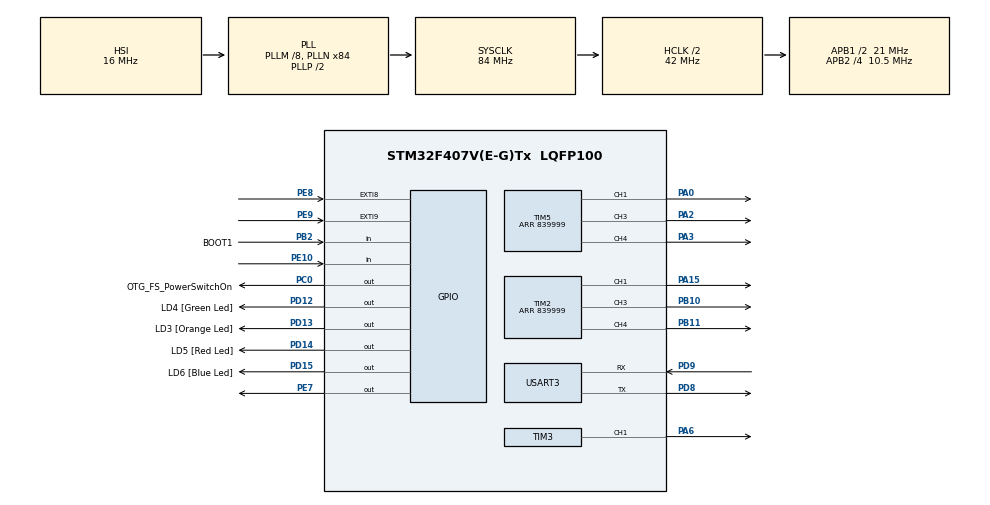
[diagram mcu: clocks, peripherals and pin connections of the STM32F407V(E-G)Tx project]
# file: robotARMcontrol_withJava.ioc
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Mcu.Family=STM32F4
Mcu.Name=STM32F407V(E-G)Tx
Mcu.Package=LQFP100
NVIC.EXTI9_5_IRQn=true\:1\:0\:true\:false\:true
NVIC.PriorityGroup=NVIC_PRIORITYGROUP_1
NVIC.TIM2_IRQn=true\:0\:0\:true\:false\:true
NVIC.TIM3_IRQn=true\:0\:0\:true\:false\:true
NVIC.TIM5_IRQn=true\:0\:0\:true\:false\:true
NVIC.USART3_IRQn=true\:1\:0\:true\:false\:true
PA0-WKUP.Signal=S_TIM5_CH1
PA10.GPIO_Label=OTG_FS_ID
PA10.GPIO_Mode=GPIO_MODE_AF_PP
PA10.GPIO_PuPd=GPIO_NOPULL
PA10.GPIO_Speed=GPIO_SPEED_FREQ_LOW
PA10.Signal=USB_OTG_FS_ID
PA11.GPIO_Label=OTG_FS_DM
PA11.GPIO_Mode=GPIO_MODE_AF_PP
PA11.GPIO_PuPd=GPIO_NOPULL
PA11.GPIO_Speed=GPIO_SPEED_FREQ_LOW
PA11.Signal=USB_OTG_FS_DM
PA12.GPIO_Label=OTG_FS_DP
PA12.GPIO_Mode=GPIO_MODE_AF_PP
PA12.GPIO_PuPd=GPIO_NOPULL
PA12.GPIO_Speed=GPIO_SPEED_FREQ_LOW
PA12.Signal=USB_OTG_FS_DP
PA13.GPIO_Label=SWDIO
PA13.Signal=SYS_JTMS-SWDIO
PA14.GPIO_Label=SWCLK
PA14.Signal=SYS_JTCK-SWCLK
PA15.Signal=S_TIM2_CH1_ETR
PA2.Signal=S_TIM5_CH3
PA3.Signal=S_TIM5_CH4
PA6.Signal=S_TIM3_CH1
PA9.GPIO_Label=VBUS_FS
PA9.GPIO_Mode=GPIO_MODE_INPUT
PA9.GPIO_PuPd=GPIO_NOPULL
PA9.Signal=USB_OTG_FS_VBUS
PB10.Signal=S_TIM2_CH3
PB11.Signal=S_TIM2_CH4
PB2.GPIO_Label=BOOT1
PB2.GPIO_Mode=GPIO_MODE_INPUT
PB2.GPIO_PuPd=GPIO_NOPULL
PB2.Signal=GPIO_Input
PB3.GPIO_Label=SWO
PB3.Signal=SYS_JTDO-SWO
PB6.GPIO_Label=Audio_SCL [CS43L22_SCL]
PB6.GPIO_Mode=GPIO_MODE_AF_OD
PB6.GPIO_PuPd=GPIO_NOPULL
PB6.GPIO_Speed=GPIO_SPEED_FREQ_LOW
PB6.Signal=I2C1_SCL
PB9.GPIO_Label=Audio_SDA [CS43L22_SDA]
PB9.GPIO_Mode=GPIO_MODE_AF_OD
PB9.GPIO_PuPd=GPIO_NOPULL
PB9.GPIO_Speed=GPIO_SPEED_FREQ_LOW
PB9.Signal=I2C1_SDA
PC0.GPIO_Label=OTG_FS_PowerSwitchOn
PC0.GPIO_PuPd=GPIO_NOPULL
PC0.GPIO_Speed=GPIO_SPEED_FREQ_LOW
PC0.PinState=GPIO_PIN_SET
PC0.Signal=GPIO_Output
PC10.GPIO_Label=I2S3_SCK [CS43L22_SCLK]
PC10.GPIO_Mode=GPIO_MODE_AF_PP
PC10.GPIO_PuPd=GPIO_NOPULL
PC10.GPIO_Speed=GPIO_SPEED_FREQ_LOW
PC10.Signal=I2S3_CK
PC12.GPIO_Label=I2S3_SD [CS43L22_SDIN]
PC12.GPIO_Mode=GPIO_MODE_AF_PP
PC12.GPIO_PuPd=GPIO_NOPULL
PC12.GPIO_Speed=GPIO_SPEED_FREQ_LOW
PC12.Signal=I2S3_SD
PC14-OSC32_IN.GPIO_Label=PC14-OSC32_IN
PC14-OSC32_IN.Signal=RCC_OSC32_IN
PC15-OSC32_OUT.GPIO_Label=PC15-OSC32_OUT
PC15-OSC32_OUT.Signal=RCC_OSC32_OUT
PC3.GPIO_Label=PDM_OUT [MP45DT02_DOUT]
PC3.GPIO_Mode=GPIO_MODE_AF_PP
PC3.GPIO_PuPd=GPIO_NOPULL
PC3.GPIO_Speed=GPIO_SPEED_FREQ_LOW
PC3.Signal=I2S2_SD
PC7.GPIO_Label=I2S3_MCK [CS43L22_MCLK]
PC7.GPIO_Mode=GPIO_MODE_AF_PP
PC7.GPIO_PuPd=GPIO_NOPULL
PC7.GPIO_Speed=GPIO_SPEED_FREQ_LOW
PC7.Signal=I2S3_MCK
PD12.GPIO_Label=LD4 [Green Led]
PD12.GPIO_PuPd=GPIO_NOPULL
PD12.GPIO_Speed=GPIO_SPEED_FREQ_LOW
PD12.Signal=GPIO_Output
PD13.GPIO_Label=LD3 [Orange Led]
PD13.GPIO_PuPd=GPIO_NOPULL
PD13.GPIO_Speed=GPIO_SPEED_FREQ_LOW
PD13.Signal=GPIO_Output
PD14.GPIO_Label=LD5 [Red Led]
PD14.GPIO_PuPd=GPIO_NOPULL
PD14.GPIO_Speed=GPIO_SPEED_FREQ_LOW
PD14.Signal=GPIO_Output
PD15.GPIO_Label=LD6 [Blue Led]
PD15.GPIO_PuPd=GPIO_NOPULL
PD15.GPIO_Speed=GPIO_SPEED_FREQ_LOW
PD15.Signal=GPIO_Output
PD8.Mode=Asynchronous
PD8.Signal=USART3_TX
PD9.Mode=Asynchronous
PD9.Signal=USART3_RX
PE10.GPIO_PuPd=GPIO_PULLUP
PE10.Signal=GPIO_Input
PE7.Signal=GPIO_Output
PE8.GPIO_ModeDefaultEXTI=GPIO_MODE_IT_RISING_FALLING
PE8.GPIO_PuPd=GPIO_PULLUP
PE8.Signal=GPXTI8
PE9.GPIO_ModeDefaultEXTI=GPIO_MODE_IT_RISING_FALLING
PE9.GPIO_PuPd=GPIO_PULLUP
PE9.Signal=GPXTI9
PH0-OSC_IN.GPIO_Label=PH0-OSC_IN
PH0-OSC_IN.Signal=RCC_OSC_IN
PH1-OSC_OUT.GPIO_Label=PH1-OSC_OUT
PH1-OSC_OUT.Signal=RCC_OSC_OUT
ProjectManager.HeapSize=0x200
ProjectManager.StackSize=0x400
ProjectManager.TargetToolchain=EWARM
RCC.48MHZClocksFreq_Value=24000000
RCC.AHBCLKDivider=RCC_SYSCLK_DIV2
RCC.AHBFreq_Value=42000000
RCC.APB1CLKDivider=RCC_HCLK_DIV2
RCC.APB1Freq_Value=21000000
RCC.APB1TimFreq_Value=42000000
RCC.APB2CLKDivider=RCC_HCLK_DIV4
RCC.APB2Freq_Value=10500000
RCC.APB2TimFreq_Value=21000000
RCC.CortexFreq_Value=42000000
RCC.HCLKFreq_Value=42000000
RCC.HSE_VALUE=8000000
RCC.HSI_VALUE=16000000
RCC.LSE_VALUE=32768
RCC.PLLM=8
RCC.PLLN=84
RCC.PLLQ=7
RCC.SYSCLKFreq_VALUE=84000000
RCC.SYSCLKSource=RCC_SYSCLKSOURCE_PLLCLK
RCC.VCOOutputFreq_Value=168000000
SH.S_TIM2_CH1_ETR.0=TIM2_CH1,PWM Generation1 CH1
SH.S_TIM2_CH3.0=TIM2_CH3,PWM Generation3 CH3
SH.S_TIM2_CH4.0=TIM2_CH4,PWM Generation4 CH4
SH.S_TIM3_CH1.0=TIM3_CH1,PWM Generation1 CH1
SH.S_TIM5_CH1.0=TIM5_CH1,PWM Generation1 CH1
SH.S_TIM5_CH3.0=TIM5_CH3,PWM Generation3 CH3
SH.S_TIM5_CH4.0=TIM5_CH4,PWM Generation4 CH4
TIM2.Channel-PWM\ Generation1\ CH1=TIM_CHANNEL_1
TIM2.Channel-PWM\ Generation3\ CH3=TIM_CHANNEL_3
TIM2.Channel-PWM\ Generation4\ CH4=TIM_CHANNEL_4
TIM2.Period=839999
TIM3.Channel-PWM\ Generation1\ CH1=TIM_CHANNEL_1
TIM3.Period=99
TIM3.Prescaler=41999
TIM5.Channel-PWM\ Generation1\ CH1=TIM_CHANNEL_1
TIM5.Channel-PWM\ Generation3\ CH3=TIM_CHANNEL_3
TIM5.Channel-PWM\ Generation4\ CH4=TIM_CHANNEL_4
TIM5.Period=839999
USART3.VirtualMode=VM_ASYNC
VP_TIM2_VS_ClockSourceINT.Mode=Internal
VP_TIM3_VS_ClockSourceINT.Mode=Internal
VP_TIM5_VS_ClockSourceINT.Mode=Internal
board=STM32F4DISCOVERY

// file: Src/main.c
/**
  ******************************************************************************
  * File Name          : main.c
  * Description        : Main program body
  ******************************************************************************
  ** This notice applies to any and all portions of this file
  * that are not between comment pairs USER CODE BEGIN and
  * USER CODE END. Other portions of this file, whether
  * inserted by the user or by software development tools
  * are owned by their respective copyright owners.
  *
  * COPYRIGHT(c) 2017 STMicroelectronics
  *
  * Redistribution and use in source and binary forms, with or without modification,
  * are permitted provided that the following conditions are met:
  *   1. Redistributions of source code must retain the above copyright notice,
  *      this list of conditions and the following disclaimer.
  *   2. Redistributions in binary form must reproduce the above copyright notice,
  *      this list of conditions and the following disclaimer in the documentation
  *      and/or other materials provided with the distribution.
  *   3. Neither the name of STMicroelectronics nor the names of its contributors
  *      may be used to endorse or promote products derived from this software
  *      without specific prior written permission.
  *
  * THIS SOFTWARE IS PROVIDED BY THE COPYRIGHT HOLDERS AND CONTRIBUTORS "AS IS"
  * AND ANY EXPRESS OR IMPLIED WARRANTIES, INCLUDING, BUT NOT LIMITED TO, THE
  * IMPLIED WARRANTIES OF MERCHANTABILITY AND FITNESS FOR A PARTICULAR PURPOSE ARE
  * DISCLAIMED. IN NO EVENT SHALL THE COPYRIGHT HOLDER OR CONTRIBUTORS BE LIABLE
  * FOR ANY DIRECT, INDIRECT, INCIDENTAL, SPECIAL, EXEMPLARY, OR CONSEQUENTIAL
  * DAMAGES (INCLUDING, BUT NOT LIMITED TO, PROCUREMENT OF SUBSTITUTE GOODS OR
  * SERVICES; LOSS OF USE, DATA, OR PROFITS; OR BUSINESS INTERRUPTION) HOWEVER
  * CAUSED AND ON ANY THEORY OF LIABILITY, WHETHER IN CONTRACT, STRICT LIABILITY,
  * OR TORT (INCLUDING NEGLIGENCE OR OTHERWISE) ARISING IN ANY WAY OUT OF THE USE
  * OF THIS SOFTWARE, EVEN IF ADVISED OF THE POSSIBILITY OF SUCH DAMAGE.
  *
  ******************************************************************************
  */
#include "main.h"
#include "stm32f4xx_hal.h"

TIM_HandleTypeDef htim2;
TIM_HandleTypeDef htim3;
TIM_HandleTypeDef htim5;

UART_HandleTypeDef huart3;

/* USER CODE BEGIN PV */
State_HandleTypeDef State;
Uart_DataTypeDef Uart;
Motor_DataTypeDef Motor;
int TIM2_intOccured = 0;
int TIM5_intOccured = 0;
/* Private variables ---------------------------------------------------------*/
float angle_init[] = {0, 0, 0, 0,0,0,0,0};
float max_angular_speed[] = {0, 20, 60, 20, 60, 60, 60, 60};
float max_compare_difference[9];
/* USER CODE END PV */

void SystemClock_Config(void);
static void MX_GPIO_Init(void);
static void MX_TIM2_Init(void);
static void MX_TIM5_Init(void);
static void MX_USART3_UART_Init(void);
static void MX_TIM3_Init(void);
void HAL_TIM_MspPostInit(TIM_HandleTypeDef *htim);

/* USER CODE BEGIN PFP */
/* Private function prototypes -----------------------------------------------*/
float floatConvert(uint8_t* usartRXBuf);
void StepperSet(void);
void stateHandler(void);
void angleInit(void);
void stateInit(void);
void timerHandler(void);
void orderHandler(void);
void compareSet(void);
void uartGet(int num);

/* USER CODE END PFP */

int main(void)
{

  /* MCU Configuration----------------------------------------------------------*/

  /* Reset of all peripherals, Initializes the Flash interface and the Systick. */
  HAL_Init();

  /* Configure the system clock */
  SystemClock_Config();

  /* Initialize all configured peripherals */
  MX_GPIO_Init();
  MX_TIM2_Init();
  MX_TIM5_Init();
  MX_USART3_UART_Init();
  MX_TIM3_Init();

  /* USER CODE BEGIN 2 */
  stateInit();

  /* USER CODE END 2 */

  /* Infinite loop */
  /* USER CODE BEGIN WHILE */
  while (1)
  {
	  if(Uart.uartReceived) {
		  Uart.uartReceived = 0;
		  orderHandler();
	  }
	  stateHandler();
	  timerHandler();
  /* USER CODE END WHILE */

  }

}

/** System Clock Configuration
*/
void SystemClock_Config(void)
{

  RCC_OscInitTypeDef RCC_OscInitStruct;
  RCC_ClkInitTypeDef RCC_ClkInitStruct;

    /**Configure the main internal regulator output voltage
    */
  __HAL_RCC_PWR_CLK_ENABLE();

  __HAL_PWR_VOLTAGESCALING_CONFIG(PWR_REGULATOR_VOLTAGE_SCALE1);

    /**Initializes the CPU, AHB and APB busses clocks
    */
  RCC_OscInitStruct.OscillatorType = RCC_OSCILLATORTYPE_HSI;
  RCC_OscInitStruct.HSIState = RCC_HSI_ON;
  RCC_OscInitStruct.HSICalibrationValue = 16;
  RCC_OscInitStruct.PLL.PLLState = RCC_PLL_ON;
  RCC_OscInitStruct.PLL.PLLSource = RCC_PLLSOURCE_HSI;
  RCC_OscInitStruct.PLL.PLLM = 8;
  RCC_OscInitStruct.PLL.PLLN = 84;
  RCC_OscInitStruct.PLL.PLLP = RCC_PLLP_DIV2;
  RCC_OscInitStruct.PLL.PLLQ = 7;
  if (HAL_RCC_OscConfig(&RCC_OscInitStruct) != HAL_OK)
  {
    _Error_Handler(__FILE__, __LINE__);
  }

    /**Initializes the CPU, AHB and APB busses clocks
    */
  RCC_ClkInitStruct.ClockType = RCC_CLOCKTYPE_HCLK|RCC_CLOCKTYPE_SYSCLK
                              |RCC_CLOCKTYPE_PCLK1|RCC_CLOCKTYPE_PCLK2;
  RCC_ClkInitStruct.SYSCLKSource = RCC_SYSCLKSOURCE_PLLCLK;
  RCC_ClkInitStruct.AHBCLKDivider = RCC_SYSCLK_DIV2;
  RCC_ClkInitStruct.APB1CLKDivider = RCC_HCLK_DIV2;
  RCC_ClkInitStruct.APB2CLKDivider = RCC_HCLK_DIV4;

  if (HAL_RCC_ClockConfig(&RCC_ClkInitStruct, FLASH_LATENCY_1) != HAL_OK)
  {
    _Error_Handler(__FILE__, __LINE__);
  }

    /**Configure the Systick interrupt time
    */
  HAL_SYSTICK_Config(HAL_RCC_GetHCLKFreq()/1000);

    /**Configure the Systick
    */
  HAL_SYSTICK_CLKSourceConfig(SYSTICK_CLKSOURCE_HCLK);

  /* SysTick_IRQn interrupt configuration */
  HAL_NVIC_SetPriority(SysTick_IRQn, 0, 0);
}

/* TIM2 init function */
static void MX_TIM2_Init(void)
{

  TIM_ClockConfigTypeDef sClockSourceConfig;
  TIM_MasterConfigTypeDef sMasterConfig;
  TIM_OC_InitTypeDef sConfigOC;

  htim2.Instance = TIM2;
  htim2.Init.Prescaler = 0;
  htim2.Init.CounterMode = TIM_COUNTERMODE_UP;
  htim2.Init.Period = 839999;
  htim2.Init.ClockDivision = TIM_CLOCKDIVISION_DIV1;
  if (HAL_TIM_Base_Init(&htim2) != HAL_OK)
  {
    _Error_Handler(__FILE__, __LINE__);
  }

  sClockSourceConfig.ClockSource = TIM_CLOCKSOURCE_INTERNAL;
  if (HAL_TIM_ConfigClockSource(&htim2, &sClockSourceConfig) != HAL_OK)
  {
    _Error_Handler(__FILE__, __LINE__);
  }

  if (HAL_TIM_PWM_Init(&htim2) != HAL_OK)
  {
    _Error_Handler(__FILE__, __LINE__);
  }

  sMasterConfig.MasterOutputTrigger = TIM_TRGO_RESET;
  sMasterConfig.MasterSlaveMode = TIM_MASTERSLAVEMODE_DISABLE;
  if (HAL_TIMEx_MasterConfigSynchronization(&htim2, &sMasterConfig) != HAL_OK)
  {
    _Error_Handler(__FILE__, __LINE__);
  }

  sConfigOC.OCMode = TIM_OCMODE_PWM1;
  sConfigOC.Pulse = 0;
  sConfigOC.OCPolarity = TIM_OCPOLARITY_HIGH;
  sConfigOC.OCFastMode = TIM_OCFAST_DISABLE;
  if (HAL_TIM_PWM_ConfigChannel(&htim2, &sConfigOC, TIM_CHANNEL_1) != HAL_OK)
  {
    _Error_Handler(__FILE__, __LINE__);
  }

  if (HAL_TIM_PWM_ConfigChannel(&htim2, &sConfigOC, TIM_CHANNEL_3) != HAL_OK)
  {
    _Error_Handler(__FILE__, __LINE__);
  }

  if (HAL_TIM_PWM_ConfigChannel(&htim2, &sConfigOC, TIM_CHANNEL_4) != HAL_OK)
  {
    _Error_Handler(__FILE__, __LINE__);
  }

  HAL_TIM_MspPostInit(&htim2);

}

/* TIM3 init function */
static void MX_TIM3_Init(void)
{

  TIM_ClockConfigTypeDef sClockSourceConfig;
  TIM_MasterConfigTypeDef sMasterConfig;
  TIM_OC_InitTypeDef sConfigOC;

  htim3.Instance = TIM3;
  htim3.Init.Prescaler = 41999;
  htim3.Init.CounterMode = TIM_COUNTERMODE_UP;
  htim3.Init.Period = 99;
  htim3.Init.ClockDivision = TIM_CLOCKDIVISION_DIV1;
  if (HAL_TIM_Base_Init(&htim3) != HAL_OK)
  {
    _Error_Handler(__FILE__, __LINE__);
  }

  sClockSourceConfig.ClockSource = TIM_CLOCKSOURCE_INTERNAL;
  if (HAL_TIM_ConfigClockSource(&htim3, &sClockSourceConfig) != HAL_OK)
  {
    _Error_Handler(__FILE__, __LINE__);
  }

  if (HAL_TIM_PWM_Init(&htim3) != HAL_OK)
  {
    _Error_Handler(__FILE__, __LINE__);
  }

  sMasterConfig.MasterOutputTrigger = TIM_TRGO_RESET;
  sMasterConfig.MasterSlaveMode = TIM_MASTERSLAVEMODE_DISABLE;
  if (HAL_TIMEx_MasterConfigSynchronization(&htim3, &sMasterConfig) != HAL_OK)
  {
    _Error_Handler(__FILE__, __LINE__);
  }

  sConfigOC.OCMode = TIM_OCMODE_PWM1;
  sConfigOC.Pulse = 0;
  sConfigOC.OCPolarity = TIM_OCPOLARITY_HIGH;
  sConfigOC.OCFastMode = TIM_OCFAST_DISABLE;
  if (HAL_TIM_PWM_ConfigChannel(&htim3, &sConfigOC, TIM_CHANNEL_1) != HAL_OK)
  {
    _Error_Handler(__FILE__, __LINE__);
  }

  HAL_TIM_MspPostInit(&htim3);

}

/* TIM5 init function */
static void MX_TIM5_Init(void)
{

  TIM_ClockConfigTypeDef sClockSourceConfig;
  TIM_MasterConfigTypeDef sMasterConfig;
  TIM_OC_InitTypeDef sConfigOC;

  htim5.Instance = TIM5;
  htim5.Init.Prescaler = 0;
  htim5.Init.CounterMode = TIM_COUNTERMODE_UP;
  htim5.Init.Period = 839999;
  htim5.Init.ClockDivision = TIM_CLOCKDIVISION_DIV1;
  if (HAL_TIM_Base_Init(&htim5) != HAL_OK)
  {
    _Error_Handler(__FILE__, __LINE__);
  }

  sClockSourceConfig.ClockSource = TIM_CLOCKSOURCE_INTERNAL;
  if (HAL_TIM_ConfigClockSource(&htim5, &sClockSourceConfig) != HAL_OK)
  {
    _Error_Handler(__FILE__, __LINE__);
  }

  if (HAL_TIM_PWM_Init(&htim5) != HAL_OK)
  {
    _Error_Handler(__FILE__, __LINE__);
  }

  sMasterConfig.MasterOutputTrigger = TIM_TRGO_RESET;
  sMasterConfig.MasterSlaveMode = TIM_MASTERSLAVEMODE_DISABLE;
  if (HAL_TIMEx_MasterConfigSynchronization(&htim5, &sMasterConfig) != HAL_OK)
  {
    _Error_Handler(__FILE__, __LINE__);
  }

  sConfigOC.OCMode = TIM_OCMODE_PWM1;
  sConfigOC.Pulse = 0;
  sConfigOC.OCPolarity = TIM_OCPOLARITY_HIGH;
  sConfigOC.OCFastMode = TIM_OCFAST_DISABLE;
  if (HAL_TIM_PWM_ConfigChannel(&htim5, &sConfigOC, TIM_CHANNEL_1) != HAL_OK)
  {
    _Error_Handler(__FILE__, __LINE__);
  }

  if (HAL_TIM_PWM_ConfigChannel(&htim5, &sConfigOC, TIM_CHANNEL_3) != HAL_OK)
  {
    _Error_Handler(__FILE__, __LINE__);
  }

  if (HAL_TIM_PWM_ConfigChannel(&htim5, &sConfigOC, TIM_CHANNEL_4) != HAL_OK)
  {
    _Error_Handler(__FILE__, __LINE__);
  }

  HAL_TIM_MspPostInit(&htim5);

}

/* USART3 init function */
static void MX_USART3_UART_Init(void)
{

  huart3.Instance = USART3;
  huart3.Init.BaudRate = 115200;
  huart3.Init.WordLength = UART_WORDLENGTH_8B;
  huart3.Init.StopBits = UART_STOPBITS_1;
  huart3.Init.Parity = UART_PARITY_NONE;
  huart3.Init.Mode = UART_MODE_TX_RX;
  huart3.Init.HwFlowCtl = UART_HWCONTROL_NONE;
  huart3.Init.OverSampling = UART_OVERSAMPLING_16;
  if (HAL_UART_Init(&huart3) != HAL_OK)
  {
    _Error_Handler(__FILE__, __LINE__);
  }

}

/** Configure pins as
        * Analog
        * Input
        * Output
        * EVENT_OUT
        * EXTI
     PC3   ------> I2S2_SD
     PC7   ------> I2S3_MCK
     PA9   ------> USB_OTG_FS_VBUS
     PA10   ------> USB_OTG_FS_ID
     PA11   ------> USB_OTG_FS_DM
     PA12   ------> USB_OTG_FS_DP
     PC10   ------> I2S3_CK
     PC12   ------> I2S3_SD
     PB6   ------> I2C1_SCL
     PB9   ------> I2C1_SDA
*/
static void MX_GPIO_Init(void)
{

  GPIO_InitTypeDef GPIO_InitStruct;

  /* GPIO Ports Clock Enable */
  __HAL_RCC_GPIOC_CLK_ENABLE();
  __HAL_RCC_GPIOH_CLK_ENABLE();
  __HAL_RCC_GPIOA_CLK_ENABLE();
  __HAL_RCC_GPIOB_CLK_ENABLE();
  __HAL_RCC_GPIOE_CLK_ENABLE();
  __HAL_RCC_GPIOD_CLK_ENABLE();

  /*Configure GPIO pin Output Level */
  HAL_GPIO_WritePin(OTG_FS_PowerSwitchOn_GPIO_Port, OTG_FS_PowerSwitchOn_Pin, GPIO_PIN_SET);

  /*Configure GPIO pin Output Level */
  HAL_GPIO_WritePin(GPIOE, GPIO_PIN_7, GPIO_PIN_RESET);

  /*Configure GPIO pin Output Level */
  HAL_GPIO_WritePin(GPIOD, LD4_Pin|LD3_Pin|LD5_Pin|LD6_Pin, GPIO_PIN_RESET);

  /*Configure GPIO pin : OTG_FS_PowerSwitchOn_Pin */
  GPIO_InitStruct.Pin = OTG_FS_PowerSwitchOn_Pin;
  GPIO_InitStruct.Mode = GPIO_MODE_OUTPUT_PP;
  GPIO_InitStruct.Pull = GPIO_NOPULL;
  GPIO_InitStruct.Speed = GPIO_SPEED_FREQ_LOW;
  HAL_GPIO_Init(OTG_FS_PowerSwitchOn_GPIO_Port, &GPIO_InitStruct);

  /*Configure GPIO pin : PDM_OUT_Pin */
  GPIO_InitStruct.Pin = PDM_OUT_Pin;
  GPIO_InitStruct.Mode = GPIO_MODE_AF_PP;
  GPIO_InitStruct.Pull = GPIO_NOPULL;
  GPIO_InitStruct.Speed = GPIO_SPEED_FREQ_LOW;
  GPIO_InitStruct.Alternate = GPIO_AF5_SPI2;
  HAL_GPIO_Init(PDM_OUT_GPIO_Port, &GPIO_InitStruct);

  /*Configure GPIO pin : BOOT1_Pin */
  GPIO_InitStruct.Pin = BOOT1_Pin;
  GPIO_InitStruct.Mode = GPIO_MODE_INPUT;
  GPIO_InitStruct.Pull = GPIO_NOPULL;
  HAL_GPIO_Init(BOOT1_GPIO_Port, &GPIO_InitStruct);

  /*Configure GPIO pin : PE7 */
  GPIO_InitStruct.Pin = GPIO_PIN_7;
  GPIO_InitStruct.Mode = GPIO_MODE_OUTPUT_PP;
  GPIO_InitStruct.Pull = GPIO_NOPULL;
  GPIO_InitStruct.Speed = GPIO_SPEED_FREQ_LOW;
  HAL_GPIO_Init(GPIOE, &GPIO_InitStruct);

  /*Configure GPIO pins : PE8 PE9 */
  GPIO_InitStruct.Pin = GPIO_PIN_8|GPIO_PIN_9;
  GPIO_InitStruct.Mode = GPIO_MODE_IT_RISING_FALLING;
  GPIO_InitStruct.Pull = GPIO_PULLUP;
  HAL_GPIO_Init(GPIOE, &GPIO_InitStruct);

  /*Configure GPIO pin : PE10 */
  GPIO_InitStruct.Pin = GPIO_PIN_10;
  GPIO_InitStruct.Mode = GPIO_MODE_INPUT;
  GPIO_InitStruct.Pull = GPIO_PULLUP;
  HAL_GPIO_Init(GPIOE, &GPIO_InitStruct);

  /*Configure GPIO pins : LD4_Pin LD3_Pin LD5_Pin LD6_Pin */
  GPIO_InitStruct.Pin = LD4_Pin|LD3_Pin|LD5_Pin|LD6_Pin;
  GPIO_InitStruct.Mode = GPIO_MODE_OUTPUT_PP;
  GPIO_InitStruct.Pull = GPIO_NOPULL;
  GPIO_InitStruct.Speed = GPIO_SPEED_FREQ_LOW;
  HAL_GPIO_Init(GPIOD, &GPIO_InitStruct);

  /*Configure GPIO pins : I2S3_MCK_Pin I2S3_SCK_Pin I2S3_SD_Pin */
  GPIO_InitStruct.Pin = I2S3_MCK_Pin|I2S3_SCK_Pin|I2S3_SD_Pin;
  GPIO_InitStruct.Mode = GPIO_MODE_AF_PP;
  GPIO_InitStruct.Pull = GPIO_NOPULL;
  GPIO_InitStruct.Speed = GPIO_SPEED_FREQ_LOW;
  GPIO_InitStruct.Alternate = GPIO_AF6_SPI3;
  HAL_GPIO_Init(GPIOC, &GPIO_InitStruct);

  /*Configure GPIO pin : VBUS_FS_Pin */
  GPIO_InitStruct.Pin = VBUS_FS_Pin;
  GPIO_InitStruct.Mode = GPIO_MODE_INPUT;
  GPIO_InitStruct.Pull = GPIO_NOPULL;
  HAL_GPIO_Init(VBUS_FS_GPIO_Port, &GPIO_InitStruct);

  /*Configure GPIO pins : OTG_FS_ID_Pin OTG_FS_DM_Pin OTG_FS_DP_Pin */
  GPIO_InitStruct.Pin = OTG_FS_ID_Pin|OTG_FS_DM_Pin|OTG_FS_DP_Pin;
  GPIO_InitStruct.Mode = GPIO_MODE_AF_PP;
  GPIO_InitStruct.Pull = GPIO_NOPULL;
  GPIO_InitStruct.Speed = GPIO_SPEED_FREQ_LOW;
  GPIO_InitStruct.Alternate = GPIO_AF10_OTG_FS;
  HAL_GPIO_Init(GPIOA, &GPIO_InitStruct);

  /*Configure GPIO pins : Audio_SCL_Pin Audio_SDA_Pin */
  GPIO_InitStruct.Pin = Audio_SCL_Pin|Audio_SDA_Pin;
  GPIO_InitStruct.Mode = GPIO_MODE_AF_OD;
  GPIO_InitStruct.Pull = GPIO_PULLUP;
  GPIO_InitStruct.Speed = GPIO_SPEED_FREQ_LOW;
  GPIO_InitStruct.Alternate = GPIO_AF4_I2C1;
  HAL_GPIO_Init(GPIOB, &GPIO_InitStruct);

  /* EXTI interrupt init*/
  HAL_NVIC_SetPriority(EXTI9_5_IRQn, 1, 0);
  HAL_NVIC_EnableIRQ(EXTI9_5_IRQn);

}

/* USER CODE BEGIN 4 */
void uartGet(int num){
	for(int i=0; i<10; i++)
		Uart.uartRX[i]='\0';
	Uart.numGet = num;
	Uart.bufIdx = 0;
	HAL_UART_Receive_IT(&huart3, &Uart.RXBuf, 1);
}

void angleInit() {
	for(int i=1; i<8; i++)
		State.angle[i] = angle_init[i];
}

void stateInit(){
//	__HAL_UART_ENABLE_IT(&huart3, UART_IT_RXNE);
	HAL_TIM_Base_Start_IT(&htim2);
	HAL_TIM_Base_Start_IT(&htim3);
	HAL_TIM_Base_Start_IT(&htim5);
	__HAL_TIM_SET_COMPARE(&htim3, TIM_CHANNEL_1, 25);
	HAL_TIM_PWM_Start(&htim2, TIM_CHANNEL_1);
	HAL_TIM_PWM_Start(&htim2, TIM_CHANNEL_3);
	HAL_TIM_PWM_Start(&htim2, TIM_CHANNEL_4);
	HAL_TIM_PWM_Start(&htim5, TIM_CHANNEL_1);
	HAL_TIM_PWM_Start(&htim5, TIM_CHANNEL_3);
	HAL_TIM_PWM_Start(&htim5, TIM_CHANNEL_4);

	angleInit();
	compareSet();

	HAL_GPIO_WritePin(LD6_GPIO_Port, LD6_Pin, GPIO_PIN_SET);
	while(HAL_GPIO_ReadPin(GPIOE, GPIO_PIN_10)){
	}
	htim3.Init.Prescaler = 839;
	if (HAL_TIM_Base_Init(&htim3) != HAL_OK)
	{
	  _Error_Handler(__FILE__, __LINE__);
	}
	__HAL_TIM_SET_COMPARE(&htim3, TIM_CHANNEL_1, 50);
	HAL_GPIO_WritePin(LD6_GPIO_Port, LD6_Pin, GPIO_PIN_RESET);

	for(int i=1; i<7; i++){
		max_compare_difference[i]=56.0/9.0*max_angular_speed[i];
	}

	State.isControlled = 0;
	State.isTurnOn = 0;
	Uart.uartContents = 0;
	Motor.isStepperClockwise=0;
	Motor.stepCurrent=0;
	Motor.stepDesired=0;

	uartGet(1);
}

float floatConvert(uint8_t* usartRXBuf) {
	typedef union{
		float a;
		uint8_t b[5];
	}convert;
	convert converter;
	converter.b[0] = usartRXBuf[3]; // varying from endians
	converter.b[1] = usartRXBuf[2];
	converter.b[2] = usartRXBuf[1];
	converter.b[3] = usartRXBuf[0];
	return converter.a;
}

void StepperSet(){
	float angleDesired = State.angle[2];
	if(angleDesired > 90.0) {
		angleDesired = 90.0;
	}else if(angleDesired < -90.0) {
		angleDesired = -90.0;
	}
	Motor.stepDesired = (int) angleDesired/0.18;
	if(!Motor.pwmflag){
		if(Motor.stepCurrent > Motor.stepDesired){
			HAL_GPIO_WritePin(GPIOE, GPIO_PIN_7, GPIO_PIN_SET);
			Motor.isStepperClockwise = 1;
			HAL_TIM_PWM_Start(&htim3, TIM_CHANNEL_1);
			Motor.pwmflag = 1;
		}else if(Motor.stepCurrent < Motor.stepDesired){
			HAL_GPIO_WritePin(GPIOE, GPIO_PIN_7, GPIO_PIN_RESET);
			Motor.isStepperClockwise = 0;
			HAL_TIM_PWM_Start(&htim3, TIM_CHANNEL_1);
			Motor.pwmflag = 1;
		}
	}
}

void compareSet(){
	for(int i=1;i<=7;i++){
		if(i!=2){
			float compareTemp = (int)((8400.0*State.angle[i]/27.0) + 63000.0);
			if(((compareTemp > Motor.compare[i])&&(compareTemp - Motor.compare[i]<20))||((compareTemp < Motor.compare[i])&&(Motor.compare[i] - compareTemp<20))){
				Motor.compare[i] = compareTemp;
			}else{
				if(compareTemp > Motor.compare[i]){
					Motor.compare[i]=Motor.compare[i]+max_compare_difference[i];
				}else{
					Motor.compare[i]=Motor.compare[i]-max_compare_difference[i];
				}
		}
                }else{
         StepperSet();
         }
        }
}
void stateHandler(){
	if(!State.isTurnOn) {
		HAL_GPIO_WritePin(LD3_GPIO_Port, LD3_Pin, GPIO_PIN_RESET);
		HAL_GPIO_WritePin(LD4_GPIO_Port, LD4_Pin, GPIO_PIN_RESET);
		HAL_GPIO_WritePin(LD5_GPIO_Port, LD5_Pin, GPIO_PIN_SET);
		// moter control relay effect gpio turn off code
	} else{
		if(!State.isControlled) {
			angleInit();
			compareSet();
			HAL_GPIO_WritePin(LD3_GPIO_Port, LD3_Pin, GPIO_PIN_SET);
			HAL_GPIO_WritePin(LD4_GPIO_Port, LD4_Pin, GPIO_PIN_RESET);
			HAL_GPIO_WritePin(LD5_GPIO_Port, LD5_Pin, GPIO_PIN_RESET);
		} else {
			compareSet();
			HAL_GPIO_WritePin(LD3_GPIO_Port, LD3_Pin, GPIO_PIN_RESET);
			HAL_GPIO_WritePin(LD4_GPIO_Port, LD4_Pin, GPIO_PIN_SET);
			HAL_GPIO_WritePin(LD5_GPIO_Port, LD5_Pin, GPIO_PIN_RESET);
		}
	}
}

void timerHandler(){
	if(TIM2_intOccured) {
		__HAL_TIM_SET_COMPARE(&htim2, TIM_CHANNEL_1, Motor.compare[1]);
		__HAL_TIM_SET_COMPARE(&htim2, TIM_CHANNEL_3, Motor.compare[3]);
		__HAL_TIM_SET_COMPARE(&htim2, TIM_CHANNEL_4, Motor.compare[4]);
		TIM2_intOccured = 0;
		}
	if(TIM5_intOccured) {
		__HAL_TIM_SET_COMPARE(&htim5, TIM_CHANNEL_1, Motor.compare[5]);
		__HAL_TIM_SET_COMPARE(&htim5, TIM_CHANNEL_3, Motor.compare[6]);
		__HAL_TIM_SET_COMPARE(&htim5, TIM_CHANNEL_4, Motor.compare[7]);
		TIM5_intOccured = 0;
		}
}

void orderHandler(){
	if(!Uart.uartContents) {
		Uart.uartContents = Uart.uartRX[0] & 0x07;
		if(!Uart.uartContents) {
			State.isControlled = (Uart.uartRX[0] & 0x08) >> 3;
			State.isTurnOn = ((Uart.uartRX[0] & 0x10) >> 4) | State.isControlled;
			uartGet(1);
		} else{
			uartGet(4);
		}
	} else {
		State.angle[Uart.uartContents] = floatConvert(Uart.uartRX);
		Uart.uartContents = 0;
		uartGet(1);
	}
}

/* USER CODE END 4 */

void _Error_Handler(char * file, int line)
{
  while(1)
  {
  }
}

/************************ (C) COPYRIGHT STMicroelectronics *****END OF FILE****/
